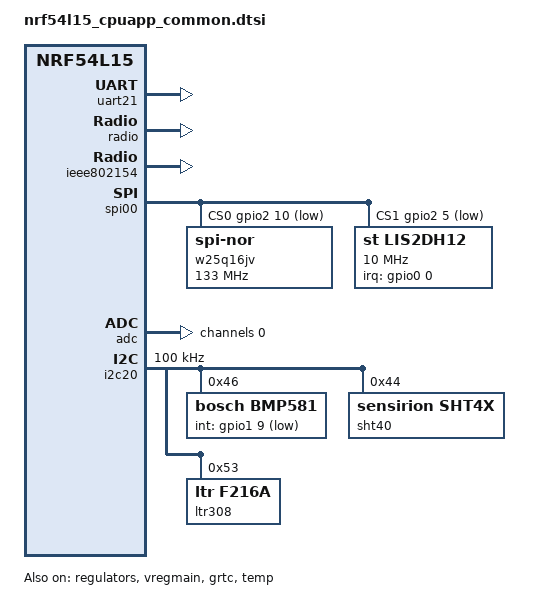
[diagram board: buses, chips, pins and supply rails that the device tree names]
/*
 * Copyright (c) 2024 Nordic Semiconductor ASA
 *
 * SPDX-License-Identifier: Apache-2.0
 */

/* This file is common to the secure and non-secure domain */

#include <nordic/nrf54l15_cpuapp.dtsi>
#include "mokosmart_l02s_bcn_nrf54l15-common.dtsi"

/ {
	chosen {
		zephyr,console = &uart21;
		zephyr,shell-uart = &uart21;
		zephyr,uart-mcumgr = &uart21;
		zephyr,bt-mon-uart = &uart21;
		zephyr,bt-c2h-uart = &uart21;
		zephyr,flash-controller = &rram_controller;
		zephyr,flash = &cpuapp_rram;
		zephyr,ieee802154 = &ieee802154;
	};
};

&cpuapp_sram {
	status = "okay";
};

&lfxo {
	load-capacitors = "internal";
	load-capacitance-femtofarad = <5500>;
};

&hfxo {
	load-capacitors = "internal";
	load-capacitance-femtofarad = <15000>;
};

&regulators {
	status = "okay";
};

&vregmain {
	status = "okay";
	regulator-initial-mode = <NRF5X_REG_MODE_DCDC>;
};

&grtc {
	owned-channels = <0 1 2 3 4 5 6 7 8 9 10 11>;
	/* Channels 7-11 reserved for Zero Latency IRQs, 3-4 for FLPR */
	child-owned-channels = <3 4 7 8 9 10 11>;
	status = "okay";
};

&cpuapp_rram {
	partitions {
		compatible = "fixed-partitions";
		#address-cells = <1>;
		#size-cells = <1>;
		boot_partition: partition@0 {
			label = "mcuboot";
			reg = <0x0 DT_SIZE_K(64)>;
		};
		slot0_partition: partition@10000 {
			label = "image-0";
			reg = <0x10000 DT_SIZE_K(324)>;
		};
		slot0_ns_partition: partition@61000 {
			label = "image-0-nonsecure";
			reg = <0x61000 DT_SIZE_K(324)>;
		};
		slot1_partition: partition@b2000 {
			label = "image-1";
			reg = <0xb2000 DT_SIZE_K(324)>;
		};
		slot1_ns_partition: partition@103000 {
			label = "image-1-nonsecure";
			reg = <0x103000 DT_SIZE_K(324)>;
		};
		/* 32k from 0x154000 to 0x15bfff reserved for TF-M partitions */
		storage_partition: partition@15c000 {
			label = "storage";
			reg = <0x15c000 DT_SIZE_K(36)>;
		};
	};
};

&uart21 {
	status = "okay";
};

&gpio0 {
	status = "okay";
};

&gpio1 {
	status = "okay";
};

&gpio2 {
	status = "okay";
};

&gpiote20 {
	status = "okay";
};

&gpiote30 {
	status = "okay";
};

&radio {
	status = "okay";
};

&ieee802154 {
	status = "okay";
};

&temp {
	status = "okay";
};

&clock {
	status = "okay";
};

&spi00 {
	status = "okay";
	cs-gpios = <&gpio2 10 GPIO_ACTIVE_LOW>, <&gpio2 5 GPIO_ACTIVE_LOW>;
	pinctrl-0 = <&spi00_default>;
	pinctrl-1 = <&spi00_sleep>;
	pinctrl-names = "default", "sleep";

	w25q16jv: w25q16jv@0 {
		compatible = "jedec,spi-nor";
		status = "okay";
		reg = <0>;
		spi-max-frequency = <133000000>;
		jedec-id = [ef 40 15];
		size = <16777216>;
		has-dpd;
		t-enter-dpd = <3000>;
		t-exit-dpd = <3000>;
	};

	lis2dh12: lis2dh12@1 {
		compatible = "st,lis2dh12", "st,lis2dh";
		status = "okay";
		reg = <1>;
		spi-max-frequency = <10000000>;
		irq-gpios = <&gpio0 0 GPIO_ACTIVE_HIGH>;
		anym-on-int1;
	};
};

&adc {
	status = "okay";
	#address-cells = <1>;
	#size-cells = <0>;

	channel@0 {
		reg = <0>;
		zephyr,gain = "ADC_GAIN_1_4";
		zephyr,reference = "ADC_REF_INTERNAL";
		zephyr,acquisition-time = <ADC_ACQ_TIME_DEFAULT>;
		zephyr,input-positive = <NRF_SAADC_VDD>;
		zephyr,resolution = <12>;
		zephyr,oversampling = <8>;
	};
};

&i2c20 {
	status = "okay";
	pinctrl-0 = <&i2c20_default>;
	pinctrl-1 = <&i2c20_sleep>;
	pinctrl-names = "default", "sleep";
	clock-frequency = <I2C_BITRATE_STANDARD>;

	bmp581: bmp581@46 {
		compatible = "bosch,bmp581";
		reg = <0x46>;
		int-gpios = <&gpio1 9 (GPIO_PULL_UP | GPIO_ACTIVE_LOW)>;
		status = "okay";
	};

	sht40: sht40@44 {
		compatible = "sensirion,sht4x";
		reg = <0x44>;
		repeatability = <2>;
		status = "okay";
	};

	ltr308: ltr308als01@53 {
		compatible = "ltr,f216a";
		reg = <0x53>;
		status = "okay";
	};
};
